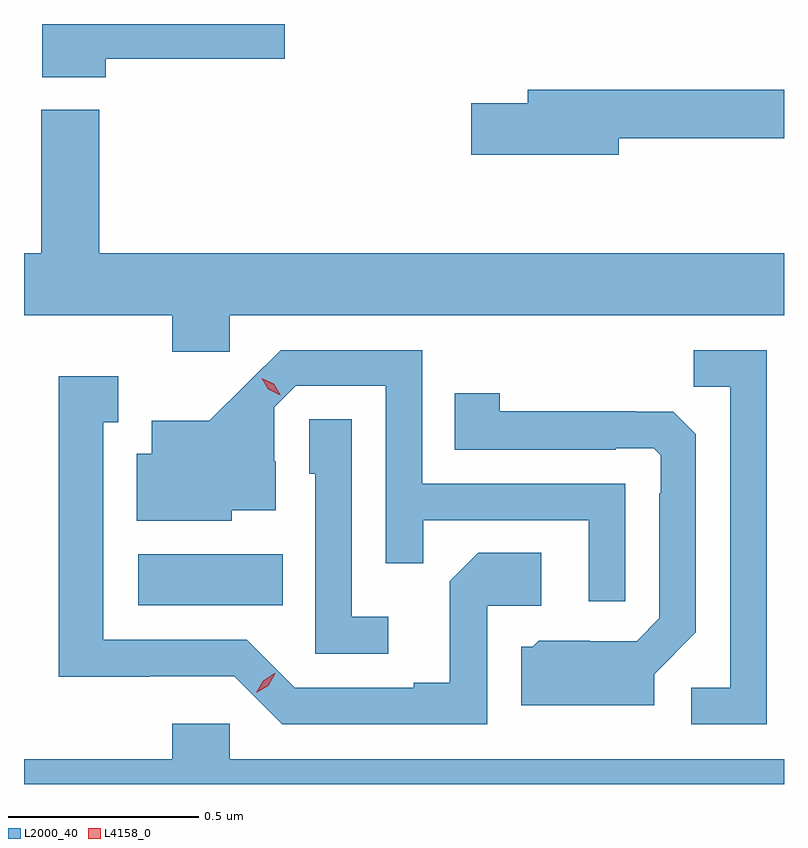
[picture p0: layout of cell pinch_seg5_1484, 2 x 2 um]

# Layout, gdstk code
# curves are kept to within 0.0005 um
import gdstk
lib = gdstk.Library(unit=1e-6, precision=1e-09)
def R(c, l, rs):  # rectangles x0, y0, x1, y1
    for r in rs: c.add(gdstk.rectangle(r[:2], r[2:], *l))
def P(c, l, *ps):  # polygons
    for p in ps: c.add(gdstk.Polygon(p, *l))
L2000_40 = (2000, 40)
L4158_0 = (4158, 0)

pinch_seg5_1484 = lib.new_cell('pinch_seg5_1484')
R(pinch_seg5_1484, L2000_40, [(126.498,891.962,126.878,892.096)])
P(pinch_seg5_1484, L2000_40, [(126.412,893.399),(126.883,893.399),(126.883,893.491),(126.245,893.491),(126.245,893.351),(126.412,893.351)],
  [(127.762,893.19),(128.197,893.19),(128.197,893.318),(127.523,893.318),(127.523,893.282),(127.374,893.282),(127.374,893.147),(127.762,893.147)],
  [(126.738,892.724),(128.197,892.724),(128.197,892.888),(126.395,892.888),(126.395,893.266),(126.242,893.266),(126.242,892.888),(126.197,892.888),(126.197,892.724),(126.587,892.724),(126.587,892.629),(126.738,892.629)],
  [(127.779,892.281),(127.245,892.281),(127.245,892.632),(126.872,892.632),(126.685,892.447),(126.533,892.447),(126.533,892.36),(126.494,892.36),(126.494,892.184),(126.744,892.184),(126.744,892.211),(126.859,892.211),(126.859,892.34),(126.855,892.34),(126.855,892.482),(126.912,892.539),(127.149,892.539),(127.149,892.072),(127.247,892.072),(127.247,892.185),(127.683,892.185),(127.683,891.972),(127.779,891.972)],
  [(128.151,892.632),(127.96,892.632),(127.96,892.537),(128.055,892.537),(128.055,891.744),(127.953,891.744),(127.953,891.648),(128.151,891.648)],
  [(127.416,891.96),(127.558,891.96),(127.558,892.1),(127.393,892.1),(127.317,892.024),(127.317,891.757),(127.223,891.757),(127.223,891.744),(126.909,891.744),(126.783,891.87),(126.406,891.87),(126.406,892.443),(126.445,892.443),(126.445,892.564),(126.288,892.564),(126.288,891.773),(126.528,891.773),(126.528,891.774),(126.75,891.774),(126.876,891.648),(127.416,891.648)],
  [(127.855,891.78),(127.965,891.89),(127.965,892.412),(127.906,892.471),(127.805,892.471),(127.805,892.472),(127.449,892.472),(127.449,892.519),(127.33,892.519),(127.33,892.371),(127.754,892.371),(127.754,892.374),(127.854,892.374),(127.872,892.356),(127.872,892.256),(127.869,892.256),(127.869,891.927),(127.809,891.867),(127.686,891.867),(127.686,891.868),(127.552,891.868),(127.536,891.852),(127.505,891.852),(127.505,891.698),(127.855,891.698)],
  [(127.156,891.931),(127.059,891.931),(127.059,892.451),(126.948,892.451),(126.948,892.308),(126.963,892.308),(126.963,891.834),(127.156,891.834)],
  [(128.197,891.556),(126.738,891.556),(126.738,891.649),(126.587,891.649),(126.587,891.556),(126.197,891.556),(126.197,891.491),(128.197,891.491)])
P(pinch_seg5_1484, L4158_0, [(126.871,892.514),(126.84,892.53),(126.823,892.559),(126.823,892.559),(126.823,892.559),(126.854,892.544),(126.871,892.515),(126.871,892.514)],
  [(126.808,891.731),(126.808,891.731),(126.826,891.763),(126.857,891.782),(126.858,891.782),(126.858,891.782),(126.84,891.749),(126.808,891.731)])

lib.write_gds('pinch_seg5_1484.gds')
